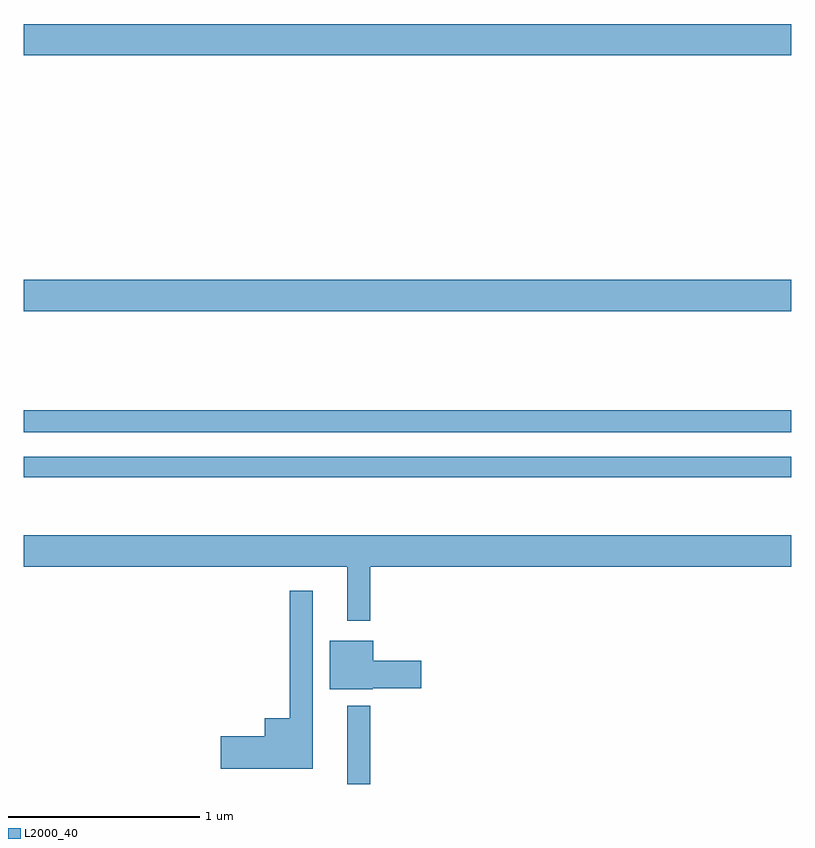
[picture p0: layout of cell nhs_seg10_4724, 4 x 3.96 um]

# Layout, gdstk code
import gdstk
lib = gdstk.Library(unit=1e-6, precision=1e-09)
def R(c, l, rs):  # rectangles x0, y0, x1, y1
    for r in rs: c.add(gdstk.rectangle(r[:2], r[2:], *l))
def P(c, l, *ps):  # polygons
    for p in ps: c.add(gdstk.Polygon(p, *l))
L2000_40 = (2000, 40)

nhs_seg10_4724 = lib.new_cell('nhs_seg10_4724')
R(nhs_seg10_4724, L2000_40, [(382.685,1316.5,382.807,1316.908), (381,1318.098,385,1318.206), (381,1318.332,385,1318.448), (381,1318.964,385,1319.128), (381,1320.296,385,1320.46)])
P(nhs_seg10_4724, L2000_40, [(382.807,1317.632),(385,1317.632),(385,1317.796),(381,1317.796),(381,1317.632),(382.685,1317.632),(382.685,1317.351),(382.807,1317.351)],
  [(382.507,1317.508),(382.386,1317.508),(382.386,1316.842),(382.256,1316.842),(382.256,1316.75),(382.026,1316.75),(382.026,1316.579),(382.507,1316.579)],
  [(382.818,1316.999),(383.071,1316.999),(383.071,1317.141),(382.822,1317.141),(382.822,1317.247),(382.595,1317.247),(382.595,1316.993),(382.818,1316.993)])

lib.write_gds('nhs_seg10_4724.gds')
